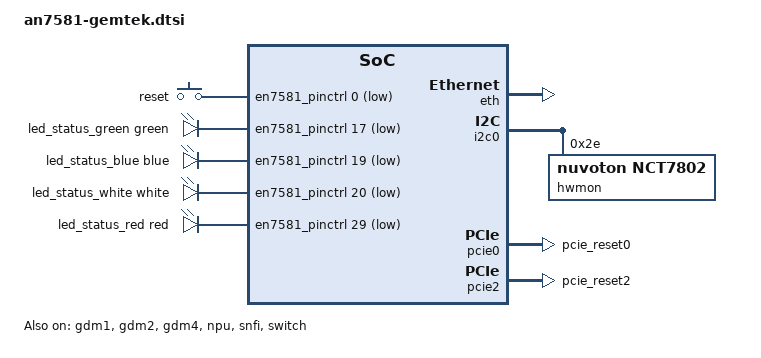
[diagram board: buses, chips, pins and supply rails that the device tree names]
// SPDX-License-Identifier: GPL-2.0-or-later OR MIT

#include <dt-bindings/gpio/gpio.h>
#include <dt-bindings/input/input.h>
#include <dt-bindings/leds/common.h>
#include "an7581.dtsi"

/ {
	aliases {
		serial0 = &uart1;
		led-boot = &led_status_red;
		led-failsafe = &led_status_blue;
		led-running = &led_status_green;
		led-upgrade = &led_status_blue;
	};

	chosen {
		stdout-path = "serial0:115200n8";
	};

	keys {
		compatible = "gpio-keys";

		key-restart {
			label = "reset";
			linux,code = <KEY_RESTART>;
			gpios = <&en7581_pinctrl 0 GPIO_ACTIVE_LOW>;
		};
	};

	leds: leds {
		compatible = "gpio-leds";

		led_status_green: led-0 {
			color = <LED_COLOR_ID_GREEN>;
			function = LED_FUNCTION_STATUS;
			gpios = <&en7581_pinctrl 17 GPIO_ACTIVE_LOW>;
		};

		led_status_blue: led-1 {
			color = <LED_COLOR_ID_BLUE>;
			function = LED_FUNCTION_STATUS;
			gpios = <&en7581_pinctrl 19 GPIO_ACTIVE_LOW>;
		};

		led_status_white: led-2 {
			color = <LED_COLOR_ID_WHITE>;
			function = LED_FUNCTION_STATUS;
			gpios = <&en7581_pinctrl 20 GPIO_ACTIVE_LOW>;
		};

		led_status_red: led-3 {
			color = <LED_COLOR_ID_RED>;
			function = LED_FUNCTION_STATUS;
			gpios = <&en7581_pinctrl 29 GPIO_ACTIVE_LOW>;
		};
	};
};

&en7581_pinctrl {
	gpio-ranges = <&en7581_pinctrl 0 13 47>;

	mdio_pins: mdio-pins {
		mux {
			function = "mdio";
			groups = "mdio";
		};

		conf {
			pins = "gpio2";
			output-high;
		};
	};

	pcie0_rst_pins: pcie0-rst-pins {
		conf {
			pins = "pcie_reset0";
			drive-open-drain = <1>;
		};
	};

	pcie2_rst_pins: pcie2-rst-pins {
		conf {
			pins = "pcie_reset2";
			drive-open-drain = <1>;
		};
	};
};

&eth {
	status = "okay";
};

&gdm1 {
	status = "okay";
};

&gdm2 {
	status = "okay";
};

&gdm4 {
	status = "okay";
};

&i2c0 {
	status = "okay";

	/* NCT7511Y */
	hwmon@2e {
		compatible = "nuvoton,nct7802";
		reg = <0x2e>;
	};
};

&npu {
	firmware-name = "airoha/en7581_MT7996_npu_rv32.bin",
			"airoha/en7581_MT7996_npu_data.bin";
	status = "okay";
};

&pcie0 {
	pinctrl-names = "default";
	pinctrl-0 = <&pcie0_rst_pins>;
	status = "okay";

	pcie@0,0 {
		reg = <0x0000 0 0 0 0>;
		#address-cells = <3>;
		#size-cells = <2>;
		device_type = "pci";

		wifi: wifi@0,0 {
			reg = <0x0000 0 0 0 0>;

			airoha,eth = <&eth>;
			airoha,npu = <&npu>;
		};
	};
};

&pcie2 {
	pinctrl-names = "default";
	pinctrl-0 = <&pcie2_rst_pins>;
	status = "okay";

	pcie@2,0 {
		reg = <0x0000 0 0 0 0>;
		#address-cells = <3>;
		#size-cells = <2>;
		device_type = "pci";

		wifi@0,0 {
			reg = <0x0000 0 0 0 0>;

			airoha,eth = <&eth>;
			airoha,npu = <&npu>;
		};
	};
};

&snfi {
	status = "okay";
};

&switch {
	pinctrl-names = "default";
	pinctrl-0 = <&mdio_pins>;
	status = "okay";
};
